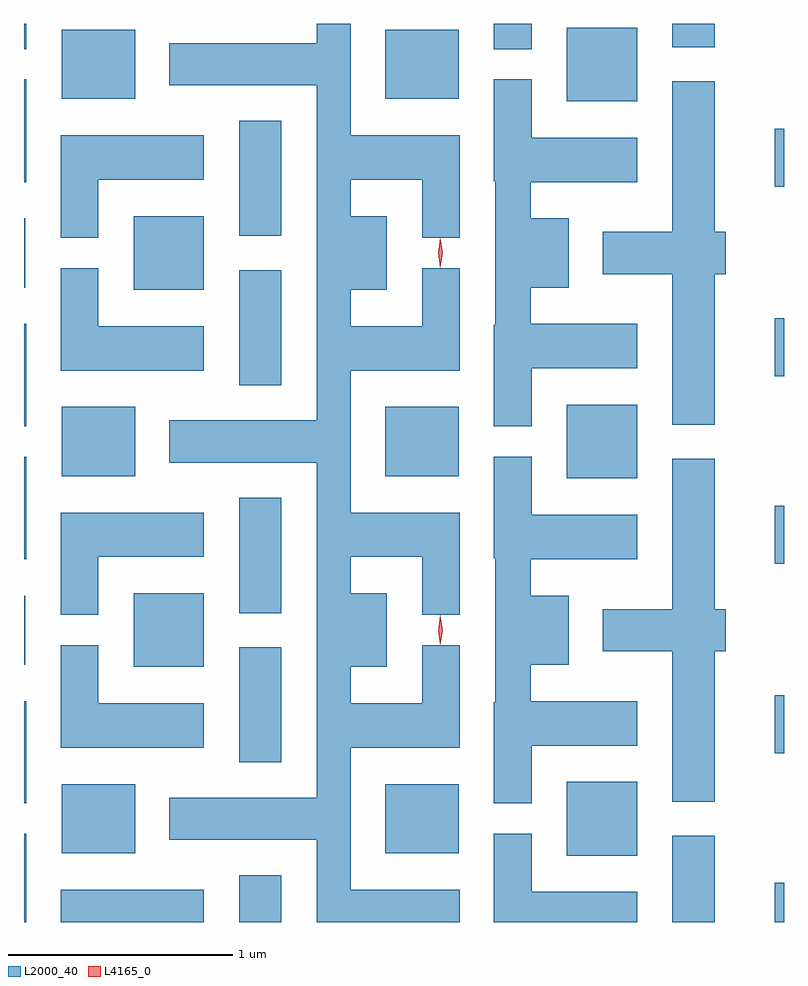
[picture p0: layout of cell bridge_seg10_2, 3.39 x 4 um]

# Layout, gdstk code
import gdstk
lib = gdstk.Library(unit=1e-6, precision=1e-09)
def R(c, l, rs):  # rectangles x0, y0, x1, y1
    for r in rs: c.add(gdstk.rectangle(r[:2], r[2:], *l))
def A(c, l, x, y, w, h, nx, ny, dx, dy):  # array of equal rectangles
    R(c, l, [(x+i*dx, y+j*dy, x+i*dx+w, y+j*dy+h) for i in range(nx) for j in range(ny)])
def P(c, l, *ps):  # polygons
    for p in ps: c.add(gdstk.Polygon(p, *l))
L2000_40 = (2000, 40)
L4165_0 = (4165, 0)

bridge_seg10_2 = lib.new_cell('bridge_seg10_2')
A(bridge_seg10_2, L2000_40, 1913.356, 2159.766, 0.313, 0.328, 1, 3, 0, 1.68)
A(bridge_seg10_2, L2000_40, 1911.106, 2159.776, 0.328, 0.308, 1, 3, 0, 1.68)
A(bridge_seg10_2, L2000_40, 1912.546, 2159.776, 0.328, 0.308, 1, 3, 0, 1.68)
R(bridge_seg10_2, L2000_40, [(1910.938,2159.47,1910.949,2159.863), (1911.101,2159.47,1911.739,2159.614), (1911.896,2159.47,1912.084,2159.679), (1913.826,2159.47,1914.014,2159.854), (1914.281,2159.47,1914.323,2159.644), (1910.938,2159.998,1910.949,2160.454), (1911.896,2160.181,1912.084,2160.694), (1914.281,2160.221,1914.323,2160.479), (1911.426,2160.606,1911.739,2160.934), (1910.938,2160.616,1910.944,2160.924), (1911.896,2160.846,1912.084,2161.359), (1914.281,2161.066,1914.323,2161.324), (1910.938,2161.086,1910.949,2161.543), (1910.938,2161.678,1910.949,2162.134), (1911.896,2161.861,1912.084,2162.374), (1914.281,2161.901,1914.323,2162.159), (1911.426,2162.286,1911.739,2162.614), (1910.938,2162.296,1910.944,2162.604), (1911.896,2162.526,1912.084,2163.039), (1914.281,2162.746,1914.323,2163.004), (1910.938,2162.766,1910.949,2163.223), (1910.938,2163.358,1910.949,2163.47), (1913.031,2163.358,1913.199,2163.47), (1913.826,2163.366,1914.014,2163.47)])
P(bridge_seg10_2, L2000_40, [(1912.879,2159.614),(1912.394,2159.614),(1912.394,2160.246),(1912.879,2160.246),(1912.879,2160.703),(1912.711,2160.703),(1912.711,2160.444),(1912.394,2160.444),(1912.394,2160.606),(1912.554,2160.606),(1912.554,2160.934),(1912.394,2160.934),(1912.394,2161.096),(1912.711,2161.096),(1912.711,2160.838),(1912.879,2160.838),(1912.879,2161.294),(1912.394,2161.294),(1912.394,2161.926),(1912.879,2161.926),(1912.879,2162.383),(1912.711,2162.383),(1912.711,2162.124),(1912.394,2162.124),(1912.394,2162.286),(1912.554,2162.286),(1912.554,2162.614),(1912.394,2162.614),(1912.394,2162.776),(1912.711,2162.776),(1912.711,2162.518),(1912.879,2162.518),(1912.879,2162.974),(1912.394,2162.974),(1912.394,2163.47),(1912.241,2163.47),(1912.241,2163.384),(1911.586,2163.384),(1911.586,2163.196),(1912.241,2163.196),(1912.241,2161.704),(1911.586,2161.704),(1911.586,2161.516),(1912.241,2161.516),(1912.241,2160.024),(1911.586,2160.024),(1911.586,2159.836),(1912.241,2159.836),(1912.241,2159.47),(1912.879,2159.47)],
  [(1913.199,2161.936),(1913.669,2161.936),(1913.669,2162.134),(1913.194,2162.134),(1913.194,2162.296),(1913.364,2162.296),(1913.364,2162.604),(1913.194,2162.604),(1913.194,2162.766),(1913.669,2162.766),(1913.669,2162.964),(1913.199,2162.964),(1913.199,2163.223),(1913.031,2163.223),(1913.031,2162.77),(1913.036,2162.77),(1913.036,2162.13),(1913.031,2162.13),(1913.031,2161.678),(1913.199,2161.678)],
  [(1914.014,2162.356),(1914.064,2162.356),(1914.064,2162.544),(1914.014,2162.544),(1914.014,2163.214),(1913.826,2163.214),(1913.826,2162.544),(1913.516,2162.544),(1913.516,2162.356),(1913.826,2162.356),(1913.826,2161.686),(1914.014,2161.686)],
  [(1911.269,2162.776),(1911.739,2162.776),(1911.739,2162.974),(1911.101,2162.974),(1911.101,2162.518),(1911.269,2162.518)],
  [(1911.739,2162.124),(1911.269,2162.124),(1911.269,2162.383),(1911.101,2162.383),(1911.101,2161.926),(1911.739,2161.926)],
  [(1913.199,2160.256),(1913.669,2160.256),(1913.669,2160.454),(1913.194,2160.454),(1913.194,2160.616),(1913.364,2160.616),(1913.364,2160.924),(1913.194,2160.924),(1913.194,2161.086),(1913.669,2161.086),(1913.669,2161.284),(1913.199,2161.284),(1913.199,2161.543),(1913.031,2161.543),(1913.031,2161.09),(1913.036,2161.09),(1913.036,2160.45),(1913.031,2160.45),(1913.031,2159.998),(1913.199,2159.998)],
  [(1914.014,2160.676),(1914.064,2160.676),(1914.064,2160.864),(1914.014,2160.864),(1914.014,2161.534),(1913.826,2161.534),(1913.826,2160.864),(1913.516,2160.864),(1913.516,2160.676),(1913.826,2160.676),(1913.826,2160.006),(1914.014,2160.006)],
  [(1911.269,2161.096),(1911.739,2161.096),(1911.739,2161.294),(1911.101,2161.294),(1911.101,2160.838),(1911.269,2160.838)],
  [(1911.739,2160.444),(1911.269,2160.444),(1911.269,2160.703),(1911.101,2160.703),(1911.101,2160.246),(1911.739,2160.246)],
  [(1913.669,2159.604),(1913.199,2159.604),(1913.199,2159.863),(1913.031,2159.863),(1913.031,2159.47),(1913.669,2159.47)])
P(bridge_seg10_2, L4165_0, [(1912.793,2160.704),(1912.792,2160.705),(1912.783,2160.77),(1912.792,2160.835),(1912.793,2160.836),(1912.793,2160.835),(1912.803,2160.77),(1912.793,2160.705)],
  [(1912.793,2162.384),(1912.792,2162.385),(1912.783,2162.45),(1912.792,2162.515),(1912.793,2162.516),(1912.793,2162.515),(1912.803,2162.45),(1912.793,2162.385)])

lib.write_gds('bridge_seg10_2.gds')
